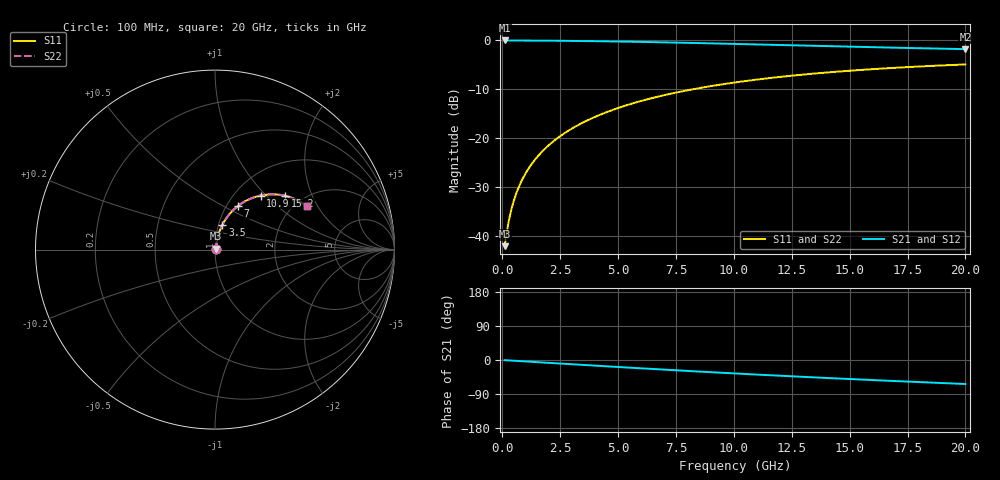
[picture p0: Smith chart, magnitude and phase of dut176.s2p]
! Touchstone file exported from HFSS 2026.1.0
!  File:  C:/ffzhzh/LocalFiles/Ansys_Project_Files/temp_train_TMRDL_176_1782983545_45328.aedt
!  Generated:  05:13:59 PM Jul  2, 2026
!  Design:  TMRDL
!  Project:  temp_train_TMRDL_176_1782983545_45328
! Variables:
!  h_bsmrdl = 2um
!  h_ox = 20um
!  h_rdl = 5um
!  h_sub = 80um
!  h_tmrdl = 2.87um
!  h_tsv = 80um
!  h_via = 3um
!  l_bsmrdl = 300um
!  l_sub = 1375.79um
!  l_tmrdl = 975.79um
!  m_sub = 200um
!  pitch = 50.73um
!  r_tsv = 6um
!  s_tmrdl = 10um
!  w_bsmrdl = 18um
!  w_sub = 500um
!  w_tmrdl = 18.9um
!  x_tsv_center1 = 985.24um
!  x_tsv_center2 = 1303.24um
!  x_tsv_center3 = 2297.93um
!  x_tsv_center4 = 2615.93um
!  x_tsv_center5 = 3610.62um
!  x_tsv_center6 = 3928.62um
# GHz S MA R 50.000000
! Terminal data exported
! Port[1] = TM_RDL1_1_T1
! Port[2] = TM_RDL1_1_T2
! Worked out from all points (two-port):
!   200 points, 100 MHz to 20 GHz, reference 50 ohm
!   highest |S21| = -0.06 dB at 100 MHz (marker M1); lowest = -1.8 dB at 20 GHz (marker M2)
!   |S21| within 3 dB of the highest: start of sweep to end of sweep
!   lowest |S11| = -42.0 dB at 100 MHz (marker M3), VSWR 1.02, Z = 50.7 + j0.456 ohm
!   |S11| at or under -10 dB: start of sweep to 8.251 GHz
!   |S22| runs from -42.0 to -5.0 dB; largest |S21 - S12| = 1.4e-14
!   S11 on the Smith chart (normalised r, x): 100 MHz: 1.01, +0.01; 3.5 GHz: 1.04, +0.30; 7 GHz: 1.13, +0.59; 10.9 GHz: 1.31, +0.93; 15.2 GHz: 1.64, +1.30; 20 GHz: 2.30, +1.62
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0.1  0.007905 34.7  0.9935 -0.4  0.9935 -0.4  0.007905 34.7
! Gamma 0 0 0 0
! Port Impedance 50 0 50 0
0.2  0.0112 52.9  0.9933 -0.8  0.9933 -0.8  0.0112 52.9
0.3  0.01506 61.8  0.9931 -1.2  0.9931 -1.2  0.01506 61.8
0.4  0.01907 66.7  0.9928 -1.6  0.9928 -1.6  0.01907 66.7
0.5  0.02312 69.7  0.9925 -1.9  0.9925 -1.9  0.02312 69.7
0.6  0.02718 71.8  0.9922 -2.3  0.9922 -2.3  0.02718 71.8
0.8  0.03531 74.3  0.9917 -3.1  0.9917 -3.1  0.03531 74.3
1.1  0.04757 76.2  0.9909 -4.2  0.9909 -4.2  0.04757 76.2
1.6  0.06807 77.0  0.9895 -6.0  0.9895 -6.0  0.06807 77.0
2.1  0.08855 76.6  0.9877 -7.9  0.9877 -7.9  0.08855 76.6
2.7  0.113 75.4  0.9849 -10.1  0.9849 -10.1  0.113 75.5
3.5  0.145 73.3  0.9804 -13.1  0.9804 -13.1  0.145 73.4
5  0.203 68.7  0.9693 -18.5  0.9693 -18.5  0.203 68.8
6.8  0.268 62.8  0.9524 -24.8  0.9524 -24.8  0.268 62.9
7  0.2749 62.2  0.9504 -25.5  0.9504 -25.5  0.2749 62.3
8.5  0.3241 57.3  0.9341 -30.5  0.9341 -30.5  0.3241 57.4
10.1  0.3718 52.3  0.9156 -35.7  0.9156 -35.7  0.3718 52.4
10.9  0.3938 49.8  0.9061 -38.2  0.9061 -38.2  0.3938 50.0
13.4  0.4548 42.5  0.8767 -45.7  0.8767 -45.7  0.4547 42.7
15.2  0.4917 37.5  0.8565 -50.8  0.8565 -50.8  0.4917 37.7
16.7  0.5185 33.5  0.8407 -54.9  0.8407 -54.9  0.5184 33.7
20  0.5655 25.1  0.8103 -63.4  0.8103 -63.4  0.5654 25.4
